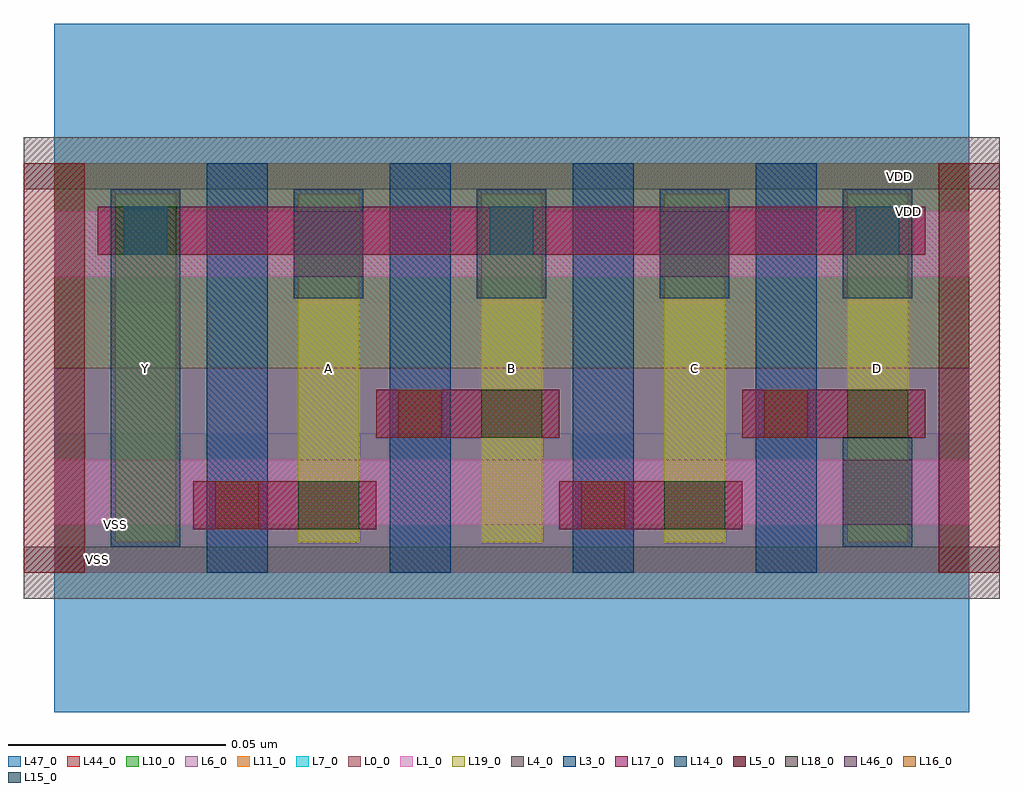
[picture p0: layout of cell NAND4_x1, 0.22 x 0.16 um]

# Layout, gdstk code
import gdstk
lib = gdstk.Library(unit=1e-6, precision=5e-10)
def R(c, l, rs):  # rectangles x0, y0, x1, y1
    for r in rs: c.add(gdstk.rectangle(r[:2], r[2:], *l))
def A(c, l, x, y, w, h, nx, ny, dx, dy):  # array of equal rectangles
    R(c, l, [(x+i*dx, y+j*dy, x+i*dx+w, y+j*dy+h) for i in range(nx) for j in range(ny)])
L0_0 = (0, 0)
L1_0 = (1, 0)
L3_0 = (3, 0)
L4_0 = (4, 0)
L5_0 = (5, 0)
L6_0 = (6, 0)
L7_0 = (7, 0)
L10_0 = (10, 0)
L11_0 = (11, 0)
L14_0 = (14, 0)
L15_0 = (15, 0)
L16_0 = (16, 0)
L17_0 = (17, 0)
L18_0 = (18, 0)
L19_0 = (19, 0)
L44_0 = (44, 0)
L46_0 = (46, 0)
L47_0 = (47, 0)

nand4_x1 = lib.new_cell('NAND4_x1')
R(nand4_x1, L0_0, [(0,0.047,0.21,0.094)])
R(nand4_x1, L1_0, [(0,0.011,0.21,0.026), (0,0.068,0.21,0.083)])
A(nand4_x1, L3_0, 0.035, 0, 0.014, 0.094, 4, 1, 0.042, 0)
R(nand4_x1, L4_0, [(-0.007,-0.006,0.217,0.006), (-0.007,0.088,0.217,0.1)])
R(nand4_x1, L5_0, [(-0.007,0,0.007,0.094), (0.203,0,0.217,0.094)])
R(nand4_x1, L6_0, [(0,0,0.21,0.047)])
R(nand4_x1, L7_0, [(0,0.047,0.21,0.094)])
R(nand4_x1, L10_0, [(0,0,0.21,0.047)])
R(nand4_x1, L11_0, [(0,0.047,0.21,0.094)])
A(nand4_x1, L14_0, 0.055, 0.063, 0.016, 0.025, 4, 1, 0.042, 0)
R(nand4_x1, L14_0, [(0.013,0.006,0.029,0.088), (0.181,0.006,0.197,0.031)])
A(nand4_x1, L15_0, 0.016, 0.073, 0.01, 0.011, 3, 1, 0.084, 0)
R(nand4_x1, L16_0, [(0.037,0.01,0.047,0.021), (0.121,0.01,0.131,0.021), (0.079,0.031,0.089,0.042), (0.163,0.031,0.173,0.042)])
R(nand4_x1, L17_0, [(0.032,0.01,0.074,0.021), (0.116,0.01,0.158,0.021), (0.074,0.031,0.116,0.042), (0.158,0.031,0.2,0.042), (0.01,0.073,0.2,0.084)])
R(nand4_x1, L18_0, [(0.056,0.01,0.07,0.021), (0.14,0.01,0.154,0.021), (0.098,0.031,0.112,0.042), (0.182,0.031,0.196,0.042), (0.014,0.073,0.028,0.084)])
A(nand4_x1, L19_0, 0.014, 0.007, 0.014, 0.08, 5, 1, 0.042, 0)
R(nand4_x1, L44_0, [(0,0,0.21,0.094)])
R(nand4_x1, L46_0, [(0.181,0.011,0.197,0.026), (0.055,0.068,0.071,0.083), (0.139,0.068,0.155,0.083)])
R(nand4_x1, L47_0, [(0,-0.032,0.21,0.032), (0,0.062,0.21,0.126)])
nand4_x1.add(gdstk.Label('D', (0.189,0.047), layer=19, texttype=2))
nand4_x1.add(gdstk.Label('C', (0.147,0.047), layer=19, texttype=2))
nand4_x1.add(gdstk.Label('B', (0.105,0.047), layer=19, texttype=2))
nand4_x1.add(gdstk.Label('A', (0.063,0.047), layer=19, texttype=2))
nand4_x1.add(gdstk.Label('Y', (0.021,0.047), layer=19, texttype=2))
nand4_x1.add(gdstk.Label('VDD', (0.196,0.083), layer=47, texttype=2))
nand4_x1.add(gdstk.Label('VSS', (0.014,0.011), layer=47, texttype=2))
nand4_x1.add(gdstk.Label('VDD', (0.194,0.091), layer=0, texttype=2))
nand4_x1.add(gdstk.Label('VSS', (0.01,0.003), layer=54, texttype=2))

lib.write_gds('NAND4_x1.gds')
